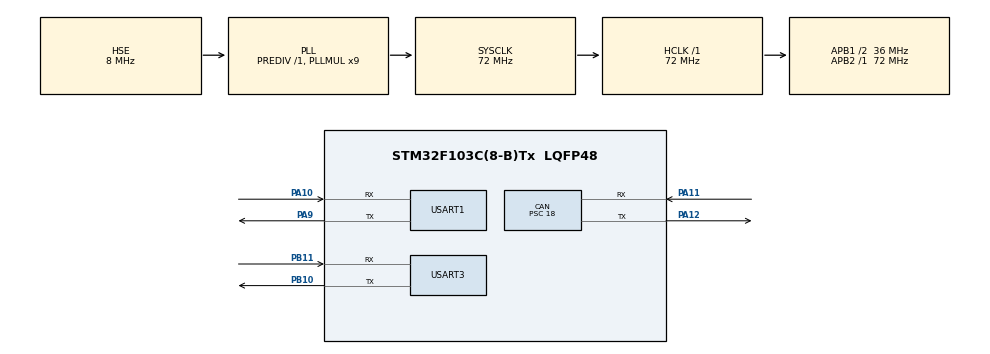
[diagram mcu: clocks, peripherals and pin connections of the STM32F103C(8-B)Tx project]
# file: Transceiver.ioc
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CAN.BS1=CAN_BS1_3TQ
CAN.BS2=CAN_BS2_4TQ
CAN.CalculateBaudRate=250000
CAN.CalculateTimeBit=4000
CAN.CalculateTimeQuantum=500.0
CAN.Prescaler=18
Mcu.Family=STM32F1
Mcu.Name=STM32F103C(8-B)Tx
Mcu.Package=LQFP48
NVIC.CAN1_SCE_IRQn=true\:0\:0\:false\:false\:true\:true\:true\:true
NVIC.PriorityGroup=NVIC_PRIORITYGROUP_4
NVIC.USART1_IRQn=true\:1\:0\:true\:false\:true\:true\:true\:true
NVIC.USB_LP_CAN1_RX0_IRQn=true\:0\:0\:false\:false\:true\:true\:true\:true
PA10.Mode=Asynchronous
PA10.Signal=USART1_RX
PA11.Mode=CAN_Activate
PA11.Signal=CAN_RX
PA12.Mode=CAN_Activate
PA12.Signal=CAN_TX
PA13.Mode=Serial_Wire
PA13.Signal=SYS_JTMS-SWDIO
PA14.Mode=Serial_Wire
PA14.Signal=SYS_JTCK-SWCLK
PA9.Mode=Asynchronous
PA9.Signal=USART1_TX
PB10.Mode=Asynchronous
PB10.Signal=USART3_TX
PB11.Mode=Asynchronous
PB11.Signal=USART3_RX
PD0-OSC_IN.Mode=HSE-External-Oscillator
PD0-OSC_IN.Signal=RCC_OSC_IN
PD1-OSC_OUT.Mode=HSE-External-Oscillator
PD1-OSC_OUT.Signal=RCC_OSC_OUT
ProjectManager.HeapSize=0x200
ProjectManager.StackSize=0x400
ProjectManager.TargetToolchain=MDK-ARM V5
RCC.AHBFreq_Value=72000000
RCC.APB1CLKDivider=RCC_HCLK_DIV2
RCC.APB1Freq_Value=36000000
RCC.APB1TimFreq_Value=72000000
RCC.APB2Freq_Value=72000000
RCC.APB2TimFreq_Value=72000000
RCC.HCLKFreq_Value=72000000
RCC.PLLMUL=RCC_PLL_MUL9
RCC.PLLSourceVirtual=RCC_PLLSOURCE_HSE
RCC.SYSCLKFreq_VALUE=72000000
RCC.SYSCLKSource=RCC_SYSCLKSOURCE_PLLCLK
RCC.USBFreq_Value=72000000
USART1.VirtualMode=VM_ASYNC
USART3.VirtualMode=VM_ASYNC
board=custom

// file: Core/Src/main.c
/* USER CODE BEGIN Header */
/**
 ******************************************************************************
 * @file           : main.c
 * @brief          : Main program body
 ******************************************************************************
 * @attention
 *
 * Copyright (c) 2024 STMicroelectronics.
 * All rights reserved.
 *
 * This software is licensed under terms that can be found in the LICENSE file
 * in the root directory of this software component.
 * If no LICENSE file comes with this software, it is provided AS-IS.
 *
 ******************************************************************************
 */
/* USER CODE END Header */
#include "main.h"
#include "can.h"
#include "usart.h"
#include "gpio.h"

/* USER CODE BEGIN Includes */

#include "fmu.h"

/* USER CODE END Includes */

void SystemClock_Config(void);

int main(void)
{

  /* MCU Configuration--------------------------------------------------------*/

  /* Reset of all peripherals, Initializes the Flash interface and the Systick. */
  HAL_Init();

  /* Configure the system clock */
  SystemClock_Config();

  /* Initialize all configured peripherals */
  MX_GPIO_Init();
  MX_CAN_Init();
  MX_USART1_UART_Init();
  MX_USART3_UART_Init();
  /* USER CODE BEGIN 2 */

  HAL_CAN_ActivateNotification(&hcan, CAN_IT_RX_FIFO0_MSG_PENDING);
	HAL_CAN_ActivateNotification(&hcan, CAN_IT_ERROR);
  HAL_CAN_Start(&hcan);
  Motors_Init();

  FMU_MAVLink_Init(&huart1, MAVLINK_COMM_0);

  uint16_t task_count = 0;

  /* USER CODE END 2 */

  /* Infinite loop */
  while (1)
  {

    /* USER CODE BEGIN 3 */

    FMU_Send_Manual_Control_Msg(MAVLINK_COMM_0, js_axes_in, &js_buttons_in);

    if (task_count >= 200)
    {
      Motor_ReadAbsolutePosition(&Motor9);
      task_count = 0;
    }

    if (JS_Buttons_Detect())
    {
      HAL_Delay(30);
      if (JS_Buttons_Detect())
      {
        JS_Buttons_Handle();
      }
    }

		task_count++;

    // printf("%d ", Motor9.position);
    // printf("\r\n");

    // for (int i = 0; i < 8; i++)
    // {
    //   printf("%d ", js_axes_in[i] + js_axes_trim_offset[i]);
    // }
    // printf("\r\n");

    // printf("%d ", js_buttons_in);
    // printf("\r\n");
  }
  /* USER CODE END 3 */
}

void SystemClock_Config(void)
{
  RCC_OscInitTypeDef RCC_OscInitStruct = {0};
  RCC_ClkInitTypeDef RCC_ClkInitStruct = {0};

  /** Initializes the RCC Oscillators according to the specified parameters
  * in the RCC_OscInitTypeDef structure.
  */
  RCC_OscInitStruct.OscillatorType = RCC_OSCILLATORTYPE_HSE;
  RCC_OscInitStruct.HSEState = RCC_HSE_ON;
  RCC_OscInitStruct.HSEPredivValue = RCC_HSE_PREDIV_DIV1;
  RCC_OscInitStruct.HSIState = RCC_HSI_ON;
  RCC_OscInitStruct.PLL.PLLState = RCC_PLL_ON;
  RCC_OscInitStruct.PLL.PLLSource = RCC_PLLSOURCE_HSE;
  RCC_OscInitStruct.PLL.PLLMUL = RCC_PLL_MUL9;
  if (HAL_RCC_OscConfig(&RCC_OscInitStruct) != HAL_OK)
  {
    Error_Handler();
  }

  /** Initializes the CPU, AHB and APB buses clocks
  */
  RCC_ClkInitStruct.ClockType = RCC_CLOCKTYPE_HCLK|RCC_CLOCKTYPE_SYSCLK
                              |RCC_CLOCKTYPE_PCLK1|RCC_CLOCKTYPE_PCLK2;
  RCC_ClkInitStruct.SYSCLKSource = RCC_SYSCLKSOURCE_PLLCLK;
  RCC_ClkInitStruct.AHBCLKDivider = RCC_SYSCLK_DIV1;
  RCC_ClkInitStruct.APB1CLKDivider = RCC_HCLK_DIV2;
  RCC_ClkInitStruct.APB2CLKDivider = RCC_HCLK_DIV1;

  if (HAL_RCC_ClockConfig(&RCC_ClkInitStruct, FLASH_LATENCY_2) != HAL_OK)
  {
    Error_Handler();
  }
}

void Error_Handler(void)
{
  __disable_irq();
  while (1)
  {
  }
}
